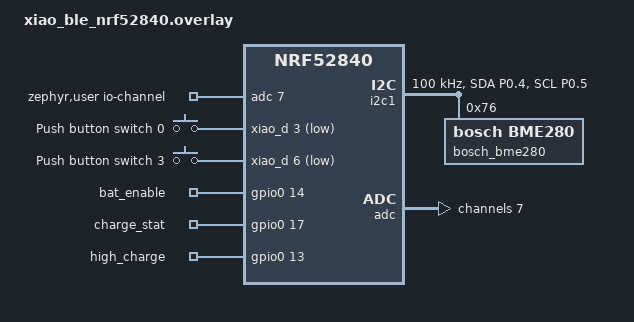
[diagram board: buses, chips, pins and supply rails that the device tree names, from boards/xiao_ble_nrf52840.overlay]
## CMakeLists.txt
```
#
# Copyright (c) 2021 Nordic Semiconductor ASA
#
# SPDX-License-Identifier: LicenseRef-Nordic-5-Clause
#

cmake_minimum_required(VERSION 3.20.0)

find_package(Zephyr HINTS $ENV{ZEPHYR_BASE})

project(ikea_temp_humidity_sensor)

# Enable GNU STD support.
include(${ZEPHYR_CONNECTEDHOMEIP_MODULE_DIR}/config/nrfconnect/app/enable-gnu-std.cmake)

# NORDIC SDK APP START

# Include all source files that are located in the Matter common directory.
include(${ZEPHYR_NRF_MODULE_DIR}/samples/matter/common/cmake/source_common.cmake)

# Include Data Model utils
include(${ZEPHYR_NRF_MODULE_DIR}/samples/matter/common/cmake/data_model.cmake)

include(${ZEPHYR_NRF_MODULE_DIR}/samples/matter/common/cmake/zap_helpers.cmake)
ncs_get_zap_parent_dir(ZAP_PARENT_DIR)

target_include_directories(app PRIVATE
  src
  ${ZAP_PARENT_DIR}
)

target_sources(app PRIVATE
  src/app_task.cpp
  src/main.cpp
)

ncs_configure_data_model()
# NORDIC SDK APP END
```

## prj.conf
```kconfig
#
# Copyright (c) 2021 Nordic Semiconductor ASA
#
# SPDX-License-Identifier: LicenseRef-Nordic-5-Clause
#

# This sample uses Kconfig.defaults to set options common for all
# samples. This file should contain only options specific for this sample
# or overrides of default values.

# Enable CHIP
CONFIG_CHIP=y
CONFIG_CHIP_PROJECT_CONFIG="src/chip_project_config.h"
CONFIG_CHIP_DEVICE_PRODUCT_NAME="Matter Template"

# Configure ZAP file name
CONFIG_NCS_SAMPLE_MATTER_ZAP_FILE_PATH="${APPLICATION_CONFIG_DIR}/src/default_zap/template.zap"

# 32768 == 0x8000 (example Product ID added temporaly,
# but it must be changed with proper PID from the list:
# https://github.com/project-chip/connectedhomeip/blob/482e6fd03196a6de45465a90003947ef4b86e0b1/docs/examples/discussion/PID_allocation_for_example_apps.md)
CONFIG_CHIP_DEVICE_PRODUCT_ID=32768
CONFIG_STD_CPP17=y
CONFIG_ADC=y
# Enable Matter pairing automatically on application start.
CONFIG_CHIP_ENABLE_PAIRING_AUTOSTART=y

# Enable Matter extended announcement and increase duration to 1 hour.
CONFIG_CHIP_BLE_EXT_ADVERTISING=y
CONFIG_CHIP_BLE_ADVERTISING_DURATION=60

# Add support for LEDs and buttons on Nordic development kits
CONFIG_DK_LIBRARY=y

# Bluetooth Low Energy configuration
CONFIG_BT_DEVICE_NAME="MatterTemplate"

# Enable system reset on fatal error
CONFIG_RESET_ON_FATAL_ERROR=y

# Disable all debug features
CONFIG_USE_SEGGER_RTT=n
CONFIG_SHELL=n
CONFIG_OPENTHREAD_SHELL=n
CONFIG_CHIP_LIB_SHELL=n
CONFIG_CONSOLE=n
CONFIG_UART_CONSOLE=n
CONFIG_SERIAL=n
CONFIG_LOG=n
CONFIG_LOG_MODE_MINIMAL=n
CONFIG_ASSERT_VERBOSE=n
CONFIG_ASSERT_NO_FILE_INFO=n
CONFIG_PRINTK=n
CONFIG_PRINTK_SYNC=n
CONFIG_THREAD_NAME=n
CONFIG_BOOT_BANNER=n

# Disable NFC onboarding
CONFIG_CHIP_NFC_ONBOARDING_PAYLOAD=n

# Enable Factory Data feature
CONFIG_CHIP_FACTORY_DATA=y
CONFIG_CHIP_FACTORY_DATA_BUILD=y

# Enable Watchdog
CONFIG_NCS_SAMPLE_MATTER_WATCHDOG=y

# Enable LTO to decrease the flash usage.
CONFIG_LTO=y
CONFIG_ISR_TABLES_LOCAL_DECLARATION=y

# Enable I2C and Sensor APIs
CONFIG_I2C=y
CONFIG_SENSOR=y

# Driver for BME280
CONFIG_BME280=y

# Enable Fuel Gauge and MAX17048 Drivers
CONFIG_FUEL_GAUGE=y
CONFIG_MAX17048=n

# Persistent Subscriptions
CONFIG_CHIP_PERSISTENT_SUBSCRIPTIONS=y

# Switch off LEDS
CONFIG_NCS_SAMPLE_MATTER_LEDS=n

# Configure Power Management
CONFIG_PM_DEVICE=y
CONFIG_RAM_POWER_DOWN_LIBRARY=y
CONFIG_POWEROFF=y

# Settings for ICD with LIT
CONFIG_OPENTHREAD_MTD=y
CONFIG_OPENTHREAD_NORDIC_LIBRARY_MTD=y

CONFIG_CHIP_ENABLE_ICD_SUPPORT=y
CONFIG_CHIP_ICD_LIT_SUPPORT=y

CONFIG_CHIP_ICD_IDLE_MODE_DURATION=900
CONFIG_CHIP_ICD_SLOW_POLL_INTERVAL=300000
CONFIG_CHIP_ICD_ACTIVE_MODE_DURATION=500
CONFIG_CHIP_ICD_ACTIVE_MODE_THRESHOLD=10000
CONFIG_CHIP_ICD_FAST_POLLING_INTERVAL=1000

CONFIG_CHIP_ICD_CLIENTS_PER_FABRIC=2
```

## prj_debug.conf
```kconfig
#
# Copyright (c) 2021 Nordic Semiconductor ASA
#
# SPDX-License-Identifier: LicenseRef-Nordic-5-Clause
#

# This sample uses Kconfig.defaults to set options common for all
# samples. This file should contain only options specific for this sample
# or overrides of default values.

# Enable CHIP
CONFIG_CHIP=y
CONFIG_CHIP_PROJECT_CONFIG="src/chip_project_config.h"
CONFIG_CHIP_DEVICE_PRODUCT_NAME="Matter Template"

# Configure ZAP file name
CONFIG_NCS_SAMPLE_MATTER_ZAP_FILE_PATH="${APPLICATION_CONFIG_DIR}/src/default_zap/template.zap"

# 32768 == 0x8000 (example Product ID added temporaly,
# but it must be changed with proper PID from the list:
# https://github.com/project-chip/connectedhomeip/blob/482e6fd03196a6de45465a90003947ef4b86e0b1/docs/examples/discussion/PID_allocation_for_example_apps.md)
CONFIG_CHIP_DEVICE_PRODUCT_ID=32768
CONFIG_STD_CPP17=y

# Enable Matter pairing automatically on application start.
CONFIG_CHIP_ENABLE_PAIRING_AUTOSTART=y

# Enable Matter extended announcement and increase duration to 1 hour.
CONFIG_CHIP_BLE_EXT_ADVERTISING=y
CONFIG_CHIP_BLE_ADVERTISING_DURATION=60

# Add support for LEDs and buttons on Nordic development kits
CONFIG_DK_LIBRARY=y

# Bluetooth Low Energy configuration
CONFIG_BT_DEVICE_NAME="MatterTemplate"

# Other settings
CONFIG_THREAD_NAME=y
CONFIG_MPU_STACK_GUARD=y
CONFIG_RESET_ON_FATAL_ERROR=n
CONFIG_CHIP_LIB_SHELL=y
CONFIG_NCS_SAMPLE_MATTER_TEST_SHELL=y

# Disable NFC onboarding
CONFIG_CHIP_NFC_ONBOARDING_PAYLOAD=n

# Reduce application size
CONFIG_USE_SEGGER_RTT=n

# Enable Factory Data feature
CONFIG_CHIP_FACTORY_DATA=n
CONFIG_CHIP_FACTORY_DATA_BUILD=n

# Enable I2C and Sensor APIs
CONFIG_I2C=y
CONFIG_SENSOR=y

# Driver for SHT4X
CONFIG_SHT4X=y

# Enable Fuel Gauge and MAX17048 Drivers
CONFIG_FUEL_GAUGE=y
CONFIG_MAX17048=y

# Persistent Subscriptions
CONFIG_CHIP_PERSISTENT_SUBSCRIPTIONS=y
```

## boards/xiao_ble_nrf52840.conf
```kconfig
CONFIG_CHIP_FACTORY_DATA=n
CONFIG_CHIP_FACTORY_DATA_BUILD=n

CONFIG_BOOTLOADER_MCUBOOT=n
CONFIG_DFU_TARGET_MCUBOOT=n
CONFIG_CHIP_BOOTLOADER_MCUBOOT=n
CONFIG_CHIP_OTA_REQUESTOR=n
CONFIG_CHIP_BOOTLOADER_NONE=y
```

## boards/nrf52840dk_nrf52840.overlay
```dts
/*
 * Copyright (c) 2021 Nordic Semiconductor ASA
 *
 * SPDX-License-Identifier: LicenseRef-Nordic-5-Clause
 */

/ {
	chosen {
		nordic,pm-ext-flash = &mx25r64;
	};
};

/* Disable unused peripherals to reduce power consumption */
&adc {
	status = "disabled";
};
&uart1 {
	status = "disabled";
};
&i2c0 {
	status = "disabled";
};
&pwm0 {
	status = "disabled";
};
&spi1 {
	status = "disabled";
};
&spi3 {
	status = "disabled";
};
&usbd {
	status = "disabled";
};

&i2c1 {
	status = "okay";
	compatible = "nordic,nrf-twim";

	sht4x@44 {
		compatible = "sensirion,sht4x";
		repeatability = <2>;
		reg = <0x44>;
	};

	max17048@36 {
		compatible = "maxim,max17048";
		reg = <0x36>;
		status = "okay";
	};	
};
```

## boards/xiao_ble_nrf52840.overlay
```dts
/ {
	zephyr,user {
        // Hier sagen wir: Der zephyr,user Knoten nutzt den ADC (Controller) an Kanal 7
        io-channels = <&adc 7>;
    };

	buttons {
	
		compatible = "gpio-keys";
	
		button0: button_0 {
			gpios = <&xiao_d 3 (GPIO_PULL_UP | GPIO_ACTIVE_LOW)>;
			label = "Push button switch 0";
			zephyr,code = <INPUT_KEY_0>;
		
		};
	
		button3: button_3 {
			gpios = <&xiao_d 6 (GPIO_PULL_UP | GPIO_ACTIVE_LOW)>;
			label = "Push button switch 3";
			zephyr,code = <INPUT_KEY_3>;
		};
	
	};

	custom_gpios {
		compatible = "gpio-keys";
		bat_enable: bat_enable {
			gpios = <&gpio0 14 0>;
		};

		charge_stat: charge_stat {
			gpios = <&gpio0 17 GPIO_PULL_UP>;
		};

		high_charge: high_charge {
			gpios = <&gpio0 13 0>;
		};
	};
};

&spi2 {
	status = "disabled";
};

/* Change the pin mappings on the xiao */
&pinctrl {
	i2c1_default: i2c1_default {
		group1 {
			psels = <NRF_PSEL(TWIM_SDA, 0, 4)>, <NRF_PSEL(TWIM_SCL, 0, 5)>;
		};
	};

	i2c1_sleep: i2c1_sleep {
		group1 {
			psels = <NRF_PSEL(TWIM_SDA, 1, 15)>,
				<NRF_PSEL(TWIM_SCL, 1, 14)>;
			low-power-enable;
		};
	};
};

&i2c1 {
	status = "okay";
	compatible = "nordic,nrf-twim";

    pinctrl-0 = <&i2c1_default>;
    pinctrl-1 = <&i2c1_sleep>;
    pinctrl-names = "default", "sleep";

	bme280@76 {
		compatible = "bosch,bme280";
		reg = <0x76>;
		label = "bosch_bme280";
	};

	clock-frequency = <I2C_BITRATE_STANDARD>;
};

/ {
    /* Deaktiviere den kompletten PWM-LED-Knoten für P0.17 */
    pwmleds {
        pwm_led0: pwm_led_0 {
            status = "disabled";
        };
    };
    
    /* Wenn die LED in den aliases hinterlegt war, auch dort entfernen, 
       um Build-Fehler im C-Code zu vermeiden, falls ein Modul darauf zugreift */
    aliases {
        /delete-property/ pwm-led0;
    };
};

/* Und wie besprochen den Hardware-PWM abschalten, falls du ihn sonst nicht nutzt */
&pwm0 {
    status = "disabled";
};

&adc {
    status = "okay";
    #address-cells = <1>;
    #size-cells = <0>;

    adc_bat_channel: channel@7 {
        reg = <7>;
        zephyr,gain = "ADC_GAIN_1_3";
        zephyr,reference = "ADC_REF_INTERNAL"; 
        zephyr,acquisition-time = <ADC_ACQ_TIME_DEFAULT>;
        zephyr,input-positive = <NRF_SAADC_AIN7>;
        zephyr,resolution = <12>;
    };
};

&nfct {
	status = "disabled";
};
```

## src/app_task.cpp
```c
/*
 * Copyright (c) 2021 Nordic Semiconductor ASA
 *
 * SPDX-License-Identifier: LicenseRef-Nordic-5-Clause
 */

#include "app_task.h"

#include "app/matter_init.h"
#include "app/task_executor.h"
#include "board/board.h"
#include "lib/core/CHIPError.h"
#include "lib/support/CodeUtils.h"

#include <setup_payload/OnboardingCodesUtil.h>

#include <zephyr/logging/log.h>
#include <zephyr/drivers/sensor.h>
#include <zephyr/drivers/gpio.h> 
#include <zephyr/drivers/adc.h>
#include <zephyr/kernel.h>


#ifdef CONFIG_FUEL_GAUGE
#include <zephyr/drivers/fuel_gauge.h>
#endif


#include <app-common/zap-generated/attributes/Accessors.h>

#include <cmath>

LOG_MODULE_DECLARE(app, CONFIG_CHIP_APP_LOG_LEVEL);

using namespace ::chip;
using namespace ::chip::app;
using namespace ::chip::DeviceLayer;

namespace {
	// Set the measurement interval.
	constexpr size_t kMeasurementsIntervalMs = 300000; // 5 Minutes

	// Endpoint and attribute constants for Temperature Measurement
	constexpr uint8_t kTemperatureMeasurementEndpointId = 1;
	constexpr int16_t kTemperatureMeasurementAttributeMaxValue = 0x7fff;
	constexpr int16_t kTemperatureMeasurementAttributeMinValue = 0x954d;
	constexpr int16_t kTemperatureMeasurementAttributeInvalidValue = 0x8000;

	// Endpoint and attribute constants for Relative Humidity Measurement
	constexpr uint8_t kHumidityMeasurementEndpointId = 2;
	constexpr uint16_t kHumidityMeasurementAttributeMaxValue = 10000; // 100.00%
	constexpr uint16_t kHumidityMeasurementAttributeMinValue = 0; // 0.00%
	constexpr uint16_t kHumidityMeasurementAttributeInvalidValue = 0xffff; // Invalid value

	//Endpoint and attribute constants for Pressure Measurement
	constexpr uint8_t kPressureMeasurementEndpointId = 3; // (Meistens ist Pressure auf Endpoint 3)
	constexpr int16_t kPressureMeasurementAttributeMaxValue = 32767;
	constexpr int16_t kPressureMeasurementAttributeMinValue = -32767;
	constexpr int16_t kPressureMeasurementAttributeInvalidValue = 0x8000;

	k_timer sMeasurementsTimer;
	bool sIsMeasurementTimerStarted = false;

	const device *bme280_dev = DEVICE_DT_GET_ONE(bosch_bme280);

	const struct gpio_dt_spec led_blue = GPIO_DT_SPEC_GET(DT_NODELABEL(led2), gpios);
	const struct gpio_dt_spec led_green = GPIO_DT_SPEC_GET(DT_NODELABEL(led1), gpios);

	//ladezeug
	constexpr uint8_t kPowerSourceEndpointId = 0;
	const struct gpio_dt_spec read_bat_enable = GPIO_DT_SPEC_GET(DT_NODELABEL(bat_enable), gpios);
	const struct gpio_dt_spec chg_stat = GPIO_DT_SPEC_GET(DT_NODELABEL(charge_stat), gpios);
	const struct gpio_dt_spec hi_chgn = GPIO_DT_SPEC_GET(DT_NODELABEL(high_charge), gpios);
	const struct adc_dt_spec ain7_bat = ADC_DT_SPEC_GET_BY_IDX(DT_PATH(zephyr_user), 0);


	uint32_t buf = 0;

	// Typische Spannungspunkte eines Li-Ion / Li-Po Akkus (in mV)
	static const int voltage_table[] = {
		3300, // 0%   - Akku leer (tiefer sollte man nicht gehen)
		3500, // 5%   - Steiler Abfall am Ende
		3650, // 20%
		3800, // 40%  - Langes, flaches Plateau
		3950, // 70%  - Langes, flaches Plateau
		4100, // 90%
		4200  // 100% - Akku voll geladen
	};

	static const int percent_table[] = {
		0, 5, 20, 40, 70, 90, 100
	};

	#define TABLE_SIZE (sizeof(voltage_table) / sizeof(voltage_table[0]))


	struct adc_sequence sequence = {
		.buffer = &buf,
		/* buffer size in bytes, not number of samples */
		.buffer_size = sizeof(buf),
		.calibrate = false
	};


} //namespace

int lipo_voltage_to_percent(int voltage_mv) {
    // Limits abfangen (außerhalb der Tabelle)
    if (voltage_mv <= voltage_table[0]) return 0;
    if (voltage_mv >= voltage_table[TABLE_SIZE - 1]) return 100;

    // Passenden Bereich finden und linear interpolieren
    for (int i = 1; i < TABLE_SIZE; i++) {
        if (voltage_mv <= voltage_table[i]) {
            // Lineare Interpolation (y = y0 + (x - x0) * (y1 - y0) / (x1 - x0))
            int dV = voltage_table[i] - voltage_table[i - 1]; // x1 - x0
            int dP = percent_table[i] - percent_table[i - 1]; // y1 - y0
            
            return percent_table[i - 1] + ((voltage_mv - voltage_table[i - 1]) * dP) / dV;
        }
    }
    
    return 100; // Fallback
}

void AppTask::MatterEventHandler(const ChipDeviceEvent *event, intptr_t arg)
{
	// On initial commissioning, start the timer.
	// We use a flag to ensure this only happens once per boot.
	if (event->Type == DeviceEventType::kCommissioningComplete && !sIsMeasurementTimerStarted) {
		LOG_INF("Commissioning complete, starting measurements.");

		// Take an immediate reading by calling UpdateClustersState directly.
		// This is posted to the event queue to ensure it runs in the correct context.
		Nrf::PostTask([] { Instance().UpdateClustersState(); });

		// Start the periodic timer. K_NO_WAIT is NOT used here because we just
		// triggered the first reading manually. The timer will fire after the first interval.
		k_timer_start(&sMeasurementsTimer, K_MSEC(kMeasurementsIntervalMs), K_MSEC(kMeasurementsIntervalMs));
		sIsMeasurementTimerStarted = true;
	}
}

void AppTask::UpdateTemperatureClusterState()
{
	struct sensor_value sTemperature;
	Protocols::InteractionModel::Status status;
	int result = sensor_channel_get(bme280_dev, SENSOR_CHAN_AMBIENT_TEMP, &sTemperature);

	if (result == 0) {
		// The MeasuredValue attribute is in 1/100ths of a degree Celsius.
		// First, get the temperature in 1/100ths of a degree.
		int32_t temp_in_hundredths = sTemperature.val1 * 100 + sTemperature.val2 / 10000;
		int16_t newValue;

		// Round to the nearest half degree (i.e., nearest 50 hundredths).
		// This logic correctly handles rounding for both positive and negative temperatures.
		if (temp_in_hundredths >= 0) {
			newValue = static_cast<int16_t>(((temp_in_hundredths + 25) / 50) * 50);
		} else {
			newValue = static_cast<int16_t>(((temp_in_hundredths - 25) / 50) * 50);
		}

		if (newValue > kTemperatureMeasurementAttributeMaxValue || newValue < kTemperatureMeasurementAttributeMinValue) {
			newValue = kTemperatureMeasurementAttributeInvalidValue;
		}
		LOG_DBG("New temperature measurement: %d.%06d *C, rounded attribute value: %d", sTemperature.val1,
			sTemperature.val2, newValue);

		status = Clusters::TemperatureMeasurement::Attributes::MeasuredValue::Set(kTemperatureMeasurementEndpointId, newValue);
		if (status != Protocols::InteractionModel::Status::Success) {
			LOG_ERR("Updating temperature measurement failed: %x", to_underlying(status));
		}
	} else {
		LOG_ERR("Getting temperature measurement data from BME280 failed with: %d", result);
	}
}

void AppTask::UpdateHumidityClusterState()
{
	struct sensor_value sHumidity;
	Protocols::InteractionModel::Status status;
	int result = sensor_channel_get(bme280_dev, SENSOR_CHAN_HUMIDITY, &sHumidity);

	if (result == 0) {
		// Round the humidity reading to the nearest whole percentage.
		// The sensor_value struct provides the integer part in val1 and the fractional part
		// in val2 (in millionths). We round up if the fractional part is >= 0.5 (500,000 millionths).
		int32_t rounded_humidity_percent = sHumidity.val1;
		if (sHumidity.val2 >= 500000) {
			rounded_humidity_percent++;
		}

		// The Relative Humidity MeasuredValue attribute is in 1/100ths of a percent.
		uint16_t newValue = static_cast<uint16_t>(rounded_humidity_percent * 100);

		LOG_DBG("New humidity measurement: %d.%06d %%RH, rounded to: %d %%, attribute value: %u", sHumidity.val1,
			sHumidity.val2, rounded_humidity_percent, newValue);

		// Validate the reading is within the defined range for the attribute.
		if (newValue > kHumidityMeasurementAttributeMaxValue || newValue < kHumidityMeasurementAttributeMinValue) {
			newValue = kHumidityMeasurementAttributeInvalidValue;
			LOG_WRN("Humidity value out of range, setting to invalid.");
		}

		status = Clusters::RelativeHumidityMeasurement::Attributes::MeasuredValue::Set(kHumidityMeasurementEndpointId, newValue);
		if (status != Protocols::InteractionModel::Status::Success) {
			LOG_ERR("Updating humidity measurement failed: %x", to_underlying(status));
		}
	} else {
		LOG_ERR("Getting humidity measurement data from BME280 failed with: %d", result);
	}
}


void AppTask::UpdatePressureClusterState()
{
    struct sensor_value sPressure;
    Protocols::InteractionModel::Status status;
    
    // Zephyr holt den Luftdruck aus dem BME280 RAM
    int result = sensor_channel_get(bme280_dev, SENSOR_CHAN_PRESS, &sPressure);

    if (result == 0) {
        // Umrechnung für Matter: (kPa * 10) + (Millionstel kPa / 100.000)
        int16_t newValue = static_cast<int16_t>(sPressure.val1 * 10 + sPressure.val2 / 100000);

        LOG_DBG("New pressure: %d.%06d kPa, Matter attribute: %d", sPressure.val1, sPressure.val2, newValue);

        if (newValue > kPressureMeasurementAttributeMaxValue || newValue < kPressureMeasurementAttributeMinValue) {
            newValue = kPressureMeasurementAttributeInvalidValue;
        }

        status = Clusters::PressureMeasurement::Attributes::MeasuredValue::Set(kPressureMeasurementEndpointId, newValue);
        if (status != Protocols::InteractionModel::Status::Success) {
            LOG_ERR("Updating pressure measurement failed: %x", to_underlying(status));
        }
    } else {
        LOG_ERR("Getting pressure from BME280 failed with: %d", result);
    }
}



void AppTask::UpdateBatteryClusterState()
{
	LOG_DBG("Batterie Update Funktion aufgerufen!");
	Protocols::InteractionModel::Status status;

	// 1. Get Battery Voltage			DONE
	int32_t val_mv;
	int err = adc_read_dt(&ain7_bat, &sequence);
			if (err < 0) {
				LOG_ERR("Could not read (%d)\n", err);
				chip::System::MapErrorZephyr(-ENODEV);
				return;
			}
	if (ain7_bat.channel_cfg.differential) {
				val_mv = (int32_t)((int16_t)buf);
	} else {
		val_mv = (int32_t)buf;
	}
	LOG_DBG("%"PRId32, val_mv);
	err = adc_raw_to_millivolts_dt(&ain7_bat,
						&val_mv);
	/* conversion to mV may not be supported, skip if not */
	if (err < 0) {
		LOG_ERR(" (value in mV not available)\n");
	}
	int32_t bat_mv = val_mv * 1510 / 510;
	status = Clusters::PowerSource::Attributes::BatVoltage::Set(kPowerSourceEndpointId, bat_mv);

	if (status != Protocols::InteractionModel::Status::Success) {
		LOG_ERR("Updating BatVoltage failed: %x", to_underlying(status));
		// Set to "unknown" (0xFFFFFFFF) on failure
		status = Clusters::PowerSource::Attributes::BatVoltage::Set(kPowerSourceEndpointId, 0xFFFFFFFF);
		if (status != Protocols::InteractionModel::Status::Success) {
		LOG_ERR("Setting BatVoltage to 'unknown' failed: %x", to_underlying(status));
		}
	}
	
	

	// 2. Get Battery Percentage

	int bat_prozent = lipo_voltage_to_percent(bat_mv);

	uint8_t matter_pct = static_cast<uint8_t>(bat_prozent * 2);

	LOG_DBG("New battery percentage: %d", bat_prozent);

	status = Clusters::PowerSource::Attributes::BatPercentRemaining::Set(kPowerSourceEndpointId, matter_pct);
	if (status != Protocols::InteractionModel::Status::Success) {
		LOG_ERR("Updating BatPercentRemaining failed: %x", to_underlying(status));
	}

	// 3. Get Charging State		DONE
	// The driver returns 'true' if charging
	int val = gpio_pin_get_dt(&chg_stat);
		Clusters::PowerSource::BatChargeStateEnum charge_state;

	if (val == 0) {
		// If time to full is > 0, we are charging
		charge_state = Clusters::PowerSource::BatChargeStateEnum::kIsCharging;
	} else if (val == 1) {
		// Otherwise, we are not charging (or are full)
		charge_state = Clusters::PowerSource::BatChargeStateEnum::kIsNotCharging;
	}
	// NOTE: When Reading PIN directly "battery full" state is not available.
	// kNotCharging is the best fit for discharging or full.

	LOG_DBG("Battery state is %u", (uint8_t)charge_state);
	status = Clusters::PowerSource::Attributes::BatChargeState::Set(kPowerSourceEndpointId, charge_state);
	if (status != Protocols::InteractionModel::Status::Success) {
		LOG_ERR("Updating BatChargeState failed: %x", to_underlying(status));
	}
}

void AppTask::MeasurementsTimerHandler()
{
	Instance().UpdateClustersState();
}

void AppTask::UpdateClustersState()
{
	UpdateBatteryClusterState();
	
	// Fetch a new sample from the sensor. This updates all channels.
	const int result_bme = sensor_sample_fetch(bme280_dev);

	if (result_bme == 0) {
		// Update both clusters with the new data.
		UpdateTemperatureClusterState();
		UpdateHumidityClusterState();
		UpdatePressureClusterState();
	} else {
		LOG_ERR("Fetching data from BME280 sensor failed with: %d", result_bme);
	}
}

CHIP_ERROR AppTask::Init()
{
	//led config
	if (device_is_ready(led_blue.port)) {
        gpio_pin_configure_dt(&led_blue, GPIO_OUTPUT_INACTIVE);
    }
	if (device_is_ready(led_green.port)) {
        gpio_pin_configure_dt(&led_green, GPIO_OUTPUT_INACTIVE);
    }

	//chg config
	if (device_is_ready(read_bat_enable.port)) {
        gpio_pin_configure_dt(&read_bat_enable, GPIO_OUTPUT_INACTIVE);
		gpio_pin_set_dt(&read_bat_enable, 0);
    }
	if (device_is_ready(chg_stat.port)) {
        gpio_pin_configure_dt(&chg_stat, GPIO_INPUT);
    }
	if (device_is_ready(hi_chgn.port)) {
        gpio_pin_configure_dt(&hi_chgn, GPIO_OUTPUT_INACTIVE);
		gpio_pin_set_dt(&hi_chgn, 0);
    }

	//adc config
	if (!adc_is_ready_dt(&ain7_bat)) {
			LOG_ERR("ADC controller is not ready");
			return chip::System::MapErrorZephyr(-ENODEV);
		}
	int err = adc_channel_setup_dt(&ain7_bat);
		if (err < 0) {
			LOG_ERR("Could not setup channel (%d)\n", err);
			return chip::System::MapErrorZephyr(-EINVAL);
		}
	err = adc_sequence_init_dt(&ain7_bat, &sequence);
    if (err < 0) {
        LOG_ERR("Could not init sequence %d", err);
        return chip::System::MapErrorZephyr(-EINVAL);
    }
	
	
	/* Initialize Matter stack */
	ReturnErrorOnFailure(Nrf::Matter::PrepareServer());

	if (!Nrf::GetBoard().Init()) {
		LOG_ERR("User interface initialization failed.");
		return CHIP_ERROR_INCORRECT_STATE;
	}

	/* Register Matter event handler that controls the connectivity status LED based on the captured Matter network
	 * state. */
	ReturnErrorOnFailure(Nrf::Matter::RegisterEventHandler(Nrf::Board::DefaultMatterEventHandler, 0));

	ReturnErrorOnFailure(Nrf::Matter::RegisterEventHandler(MatterEventHandler, 0));

	if (!device_is_ready(bme280_dev)) {
		LOG_ERR("SHT4X sensor device not ready");
		gpio_pin_set_dt(&led_blue, 1);
		k_sleep(K_MSEC(2000));
		return chip::System::MapErrorZephyr(-ENODEV);
	}

	gpio_pin_set_dt(&led_green, 1);

	k_timer_init(&sMeasurementsTimer, [](k_timer *) { Nrf::PostTask([] { MeasurementsTimerHandler(); }); }, nullptr);

	ReturnErrorOnFailure(Nrf::Matter::StartServer());

	// On reboot, if the device is already commissioned, start the timer directly.
	if (chip::Server::GetInstance().GetFabricTable().FabricCount() > 0 && !sIsMeasurementTimerStarted) {
		LOG_INF("Device is already commissioned on boot, starting measurements.");
		// Use K_NO_WAIT to get an immediate reading on reboot.
		k_timer_start(&sMeasurementsTimer, K_NO_WAIT, K_MSEC(kMeasurementsIntervalMs));
		sIsMeasurementTimerStarted = true;
		
		AppTask::Instance().UpdateClustersState();
		gpio_pin_set_dt(&led_green, 0);
	}

	return CHIP_NO_ERROR;
}

CHIP_ERROR AppTask::StartApp()
{
	ReturnErrorOnFailure(Init());

	while (true) {
		Nrf::DispatchNextTask();
	}

	return CHIP_NO_ERROR;
}
```

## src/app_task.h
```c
/*
 * Copyright (c) 2021 Nordic Semiconductor ASA
 *
 * SPDX-License-Identifier: LicenseRef-Nordic-5-Clause
 */

#pragma once

#include <platform/CHIPDeviceLayer.h>

struct k_timer;

class AppTask {
public:
	static AppTask &Instance()
	{
		static AppTask sAppTask;
		return sAppTask;
	};

	CHIP_ERROR StartApp();

	void UpdateClustersState();

private:
	CHIP_ERROR Init();

	static void MatterEventHandler(const chip::DeviceLayer::ChipDeviceEvent *event, intptr_t arg);

	static void MeasurementsTimerHandler();

	void UpdateTemperatureClusterState();

	void UpdateHumidityClusterState();

	void UpdatePressureClusterState();
	void UpdateBatteryClusterState();

};
```
